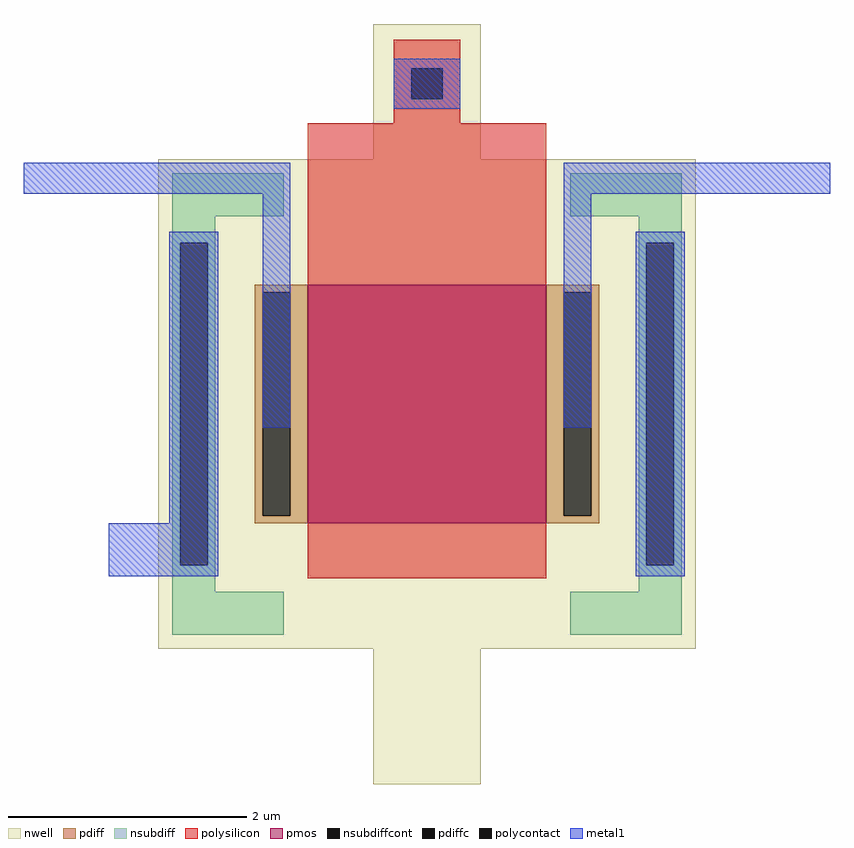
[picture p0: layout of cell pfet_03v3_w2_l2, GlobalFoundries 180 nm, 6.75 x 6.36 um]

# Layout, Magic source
magic
tech gf180mcuD
magscale 1 10
<< nwell >>
rect -450 -410 450 410
rect -90 200 90 636
rect -90 -636 90 -200
<< pmos >>
rect -200 -200 200 200
<< pdiff >>
rect -288 187 -200 200
rect -288 -187 -275 187
rect -229 -187 -200 187
rect -288 -200 -200 -187
rect 200 187 288 200
rect 200 -187 229 187
rect 275 -187 288 187
rect 200 -200 288 -187
<< pdiffc >>
rect -275 -187 -229 187
rect 229 -187 275 187
<< nsubdiff >>
rect -426 270 -354 314
rect -426 -270 -413 270
rect -367 -270 -354 270
rect 354 270 426 314
rect -426 -314 -354 -270
rect 354 -270 367 270
rect 413 -270 426 270
rect 354 -314 426 -270
rect -426 314 -240 386
rect 240 314 426 386
rect -426 -386 -240 -314
rect 240 -386 426 -314
<< nsubdiffcont >>
rect -413 -270 -367 270
rect 367 -270 413 270
<< polysilicon >>
rect -200 -292 200 470
rect -56 460 56 610
<< polycontact >>
rect -26 510 26 562
<< metal1 >>
rect -56 494 56 578
rect -275 -40 -229 352
rect -675 352 -229 404
rect 229 -40 275 352
rect 229 352 675 404
rect -431 -288 -349 288
rect 349 -288 431 288
rect -533 -288 -349 -200
<< properties >>
<< end >>
<< via1 >>
rect -26 510 26 562
<< metal2 >>
rect -52 500 52 584
<< properties >>
<< end >>
